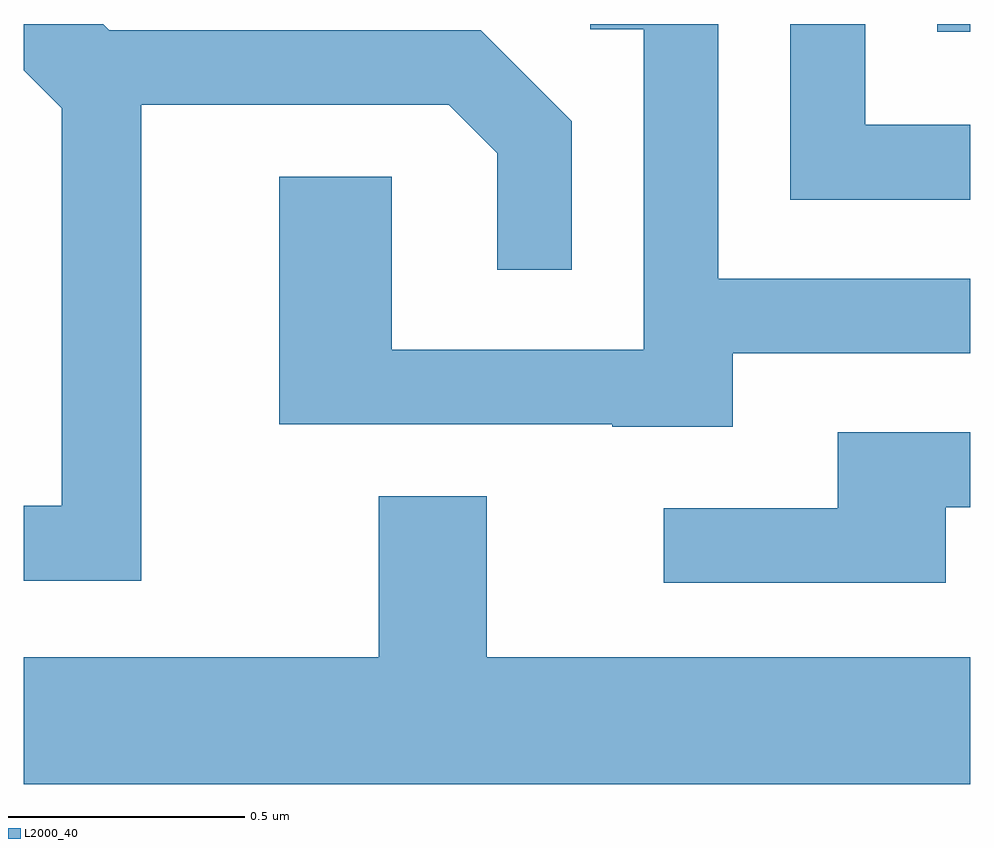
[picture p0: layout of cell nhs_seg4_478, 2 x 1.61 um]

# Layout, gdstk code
import gdstk
lib = gdstk.Library(unit=1e-6, precision=1e-09)
def R(c, l, rs):  # rectangles x0, y0, x1, y1
    for r in rs: c.add(gdstk.rectangle(r[:2], r[2:], *l))
def P(c, l, *ps):  # polygons
    for p in ps: c.add(gdstk.Polygon(p, *l))
L2000_40 = (2000, 40)

nhs_seg4_478 = lib.new_cell('nhs_seg4_478')
R(nhs_seg4_478, L2000_40, [(190.541,1322.966,190.611,1322.982)])
P(nhs_seg4_478, L2000_40, [(188.859,1322.811),(189.509,1322.811),(189.611,1322.709),(189.611,1322.463),(189.769,1322.463),(189.769,1322.777),(189.577,1322.969),(188.792,1322.969),(188.779,1322.982),(188.611,1322.982),(188.611,1322.884),(188.691,1322.804),(188.691,1321.964),(188.611,1321.964),(188.611,1321.806),(188.859,1321.806)],
  [(190.611,1322.769),(190.389,1322.769),(190.389,1322.982),(190.231,1322.982),(190.231,1322.611),(190.611,1322.611)],
  [(190.109,1322.286),(190.611,1322.286),(190.611,1322.444),(190.079,1322.444),(190.079,1322.982),(189.808,1322.982),(189.808,1322.971),(189.921,1322.971),(189.921,1322.294),(189.389,1322.294),(189.389,1322.659),(189.151,1322.659),(189.151,1322.136),(189.855,1322.136),(189.855,1322.131),(190.109,1322.131)],
  [(190.559,1321.961),(190.611,1321.961),(190.611,1322.119),(190.331,1322.119),(190.331,1321.959),(189.963,1321.959),(189.963,1321.801),(190.559,1321.801)],
  [(190.611,1321.644),(189.589,1321.644),(189.589,1321.984),(189.361,1321.984),(189.361,1321.644),(188.611,1321.644),(188.611,1321.376),(190.611,1321.376)])

lib.write_gds('nhs_seg4_478.gds')
